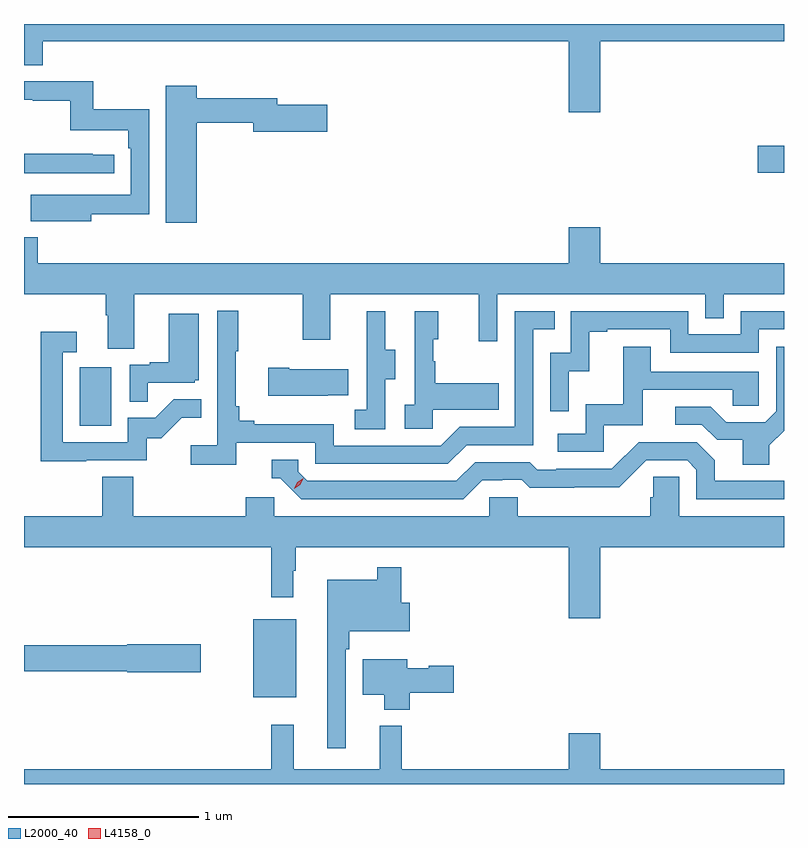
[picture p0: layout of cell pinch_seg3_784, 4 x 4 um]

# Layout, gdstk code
import gdstk
lib = gdstk.Library(unit=1e-6, precision=1e-09)
def R(c, l, rs):  # rectangles x0, y0, x1, y1
    for r in rs: c.add(gdstk.rectangle(r[:2], r[2:], *l))
def P(c, l, *ps):  # polygons
    for p in ps: c.add(gdstk.Polygon(p, *l))
L2000_40 = (2000, 40)
L4158_0 = (4158, 0)

pinch_seg3_784 = lib.new_cell('pinch_seg3_784')
R(pinch_seg3_784, L2000_40, [(822.686,726.767,822.913,727.177), (821.774,728.196,821.938,728.503), (825.342,729.526,825.48,729.668)])
P(pinch_seg3_784, L2000_40, [(824.512,730.22),(825.48,730.22),(825.48,730.31),(821.48,730.31),(821.48,730.093),(821.579,730.093),(821.579,730.22),(824.348,730.22),(824.348,729.846),(824.512,729.846)],
  [(821.833,729.31),(822.138,729.31),(822.138,729.862),(821.845,729.862),(821.845,730.008),(821.48,730.008),(821.48,729.912),(821.527,729.912),(821.527,729.907),(821.724,729.907),(821.724,729.752),(822.029,729.752),(822.029,729.656),(822.042,729.656),(822.042,729.411),(821.729,729.411),(821.729,729.412),(821.515,729.412),(821.515,729.272),(821.833,729.272)],
  [(822.388,729.79),(822.686,729.79),(822.686,729.743),(823.075,729.743),(823.075,729.885),(822.814,729.885),(822.814,729.919),(822.388,729.919),(822.388,729.985),(822.227,729.985),(822.227,729.264),(822.388,729.264)],
  [(821.956,729.621),(821.843,729.621),(821.843,729.626),(821.48,729.626),(821.48,729.525),(821.956,729.525)],
  [(822.061,728.888),(822.946,728.888),(822.946,728.649),(823.093,728.649),(823.093,728.888),(823.874,728.888),(823.874,728.64),(823.971,728.64),(823.971,728.888),(825.066,728.888),(825.066,728.761),(825.162,728.761),(825.162,728.888),(825.48,728.888),(825.48,729.052),(824.512,729.052),(824.512,729.241),(824.348,729.241),(824.348,729.052),(821.552,729.052),(821.552,729.187),(821.48,729.187),(821.48,728.888),(821.909,728.888),(821.909,728.776),(821.921,728.776),(821.921,728.602),(822.061,728.602)],
  [(822.596,728.106),(823.014,728.106),(823.014,727.995),(823.711,727.995),(823.81,728.094),(824.16,728.094),(824.16,728.703),(824.273,728.703),(824.273,728.799),(824.064,728.799),(824.064,728.19),(823.773,728.19),(823.674,728.091),(823.11,728.091),(823.11,728.203),(822.691,728.203),(822.691,728.222),(822.614,728.222),(822.614,728.299),(822.595,728.299),(822.595,728.587),(822.607,728.587),(822.607,728.8),(822.498,728.8),(822.498,728.092),(822.357,728.092),(822.357,727.99),(822.596,727.99)],
  [(824.346,728.483),(824.456,728.483),(824.456,728.691),(824.551,728.691),(824.551,728.703),(824.88,728.703),(824.88,728.58),(825.348,728.58),(825.348,728.703),(825.48,728.703),(825.48,728.799),(825.252,728.799),(825.252,728.676),(824.976,728.676),(824.976,728.799),(824.358,728.799),(824.358,728.58),(824.25,728.58),(824.25,728.271),(824.346,728.271)],
  [(823.632,728.279),(823.979,728.279),(823.979,728.419),(823.645,728.419),(823.645,728.534),(823.635,728.534),(823.635,728.652),(823.66,728.652),(823.66,728.797),(823.536,728.797),(823.536,728.306),(823.485,728.306),(823.485,728.181),(823.632,728.181)],
  [(823.38,728.44),(823.435,728.44),(823.435,728.595),(823.381,728.595),(823.381,728.797),(823.283,728.797),(823.283,728.583),(823.284,728.583),(823.284,728.279),(823.221,728.279),(823.221,728.176),(823.38,728.176)],
  [(822.131,728.421),(822.378,728.421),(822.378,728.436),(822.4,728.436),(822.4,728.785),(822.242,728.785),(822.242,728.53),(822.143,728.53),(822.143,728.517),(822.036,728.517),(822.036,728.323),(822.131,728.323)],
  [(821.807,728.013),(822.126,728.013),(822.126,728.13),(822.202,728.13),(822.309,728.237),(822.413,728.237),(822.413,728.336),(822.269,728.336),(822.171,728.238),(822.027,728.238),(822.027,728.109),(821.685,728.109),(821.685,728.583),(821.758,728.583),(821.758,728.689),(821.569,728.689),(821.569,728.008),(821.807,728.008)],
  [(825.403,728.092),(825.48,728.169),(825.48,728.611),(825.438,728.611),(825.438,728.271),(825.381,728.214),(825.175,728.214),(825.094,728.295),(824.907,728.295),(824.907,728.202),(825.048,728.202),(825.128,728.122),(825.263,728.122),(825.263,727.99),(825.403,727.99)],
  [(824.532,728.199),(824.737,728.199),(824.737,728.385),(825.211,728.385),(825.211,728.301),(825.348,728.301),(825.348,728.481),(824.779,728.481),(824.779,728.611),(824.635,728.611),(824.635,728.308),(824.436,728.308),(824.436,728.154),(824.289,728.154),(824.289,728.058),(824.532,728.058)],
  [(823.079,728.357),(823.187,728.357),(823.187,728.494),(822.877,728.494),(822.877,728.502),(822.765,728.502),(822.765,728.354),(823.079,728.354)],
  [(823.891,727.908),(823.998,727.908),(823.998,727.911),(824.101,727.911),(824.143,727.869),(824.376,727.869),(824.376,727.871),(824.612,727.871),(824.754,728.013),(824.97,728.013),(825.018,727.965),(825.018,727.809),(825.48,727.809),(825.48,727.905),(825.115,727.905),(825.115,728.015),(825.021,728.109),(824.715,728.109),(824.574,727.968),(824.281,727.968),(824.281,727.965),(824.182,727.965),(824.143,728.004),(823.854,728.004),(823.755,727.905),(822.972,727.905),(822.924,727.953),(822.924,728.016),(822.785,728.016),(822.785,727.92),(822.828,727.92),(822.939,727.809),(823.792,727.809)],
  [(824.512,727.556),(825.48,727.556),(825.48,727.72),(824.928,727.72),(824.928,727.928),(824.791,727.928),(824.791,727.818),(824.777,727.818),(824.777,727.72),(824.079,727.72),(824.079,727.818),(823.929,727.818),(823.929,727.72),(822.798,727.72),(822.798,727.818),(822.647,727.818),(822.647,727.72),(822.056,727.72),(822.056,727.928),(821.891,727.928),(821.891,727.72),(821.48,727.72),(821.48,727.556),(822.781,727.556),(822.781,727.293),(822.898,727.293),(822.898,727.433),(822.91,727.433),(822.91,727.556),(824.348,727.556),(824.348,727.182),(824.512,727.182)],
  [(823.173,727.019),(823.193,727.019),(823.193,727.115),(823.51,727.115),(823.51,727.263),(823.466,727.263),(823.466,727.45),(823.338,727.45),(823.338,727.384),(823.076,727.384),(823.076,726.498),(823.173,726.498)],
  [(822.409,727.046),(822.024,727.046),(822.024,727.04),(821.48,727.04),(821.48,726.904),(822.024,726.904),(822.024,726.899),(822.409,726.899)],
  [(823.511,726.79),(823.741,726.79),(823.741,726.932),(823.611,726.932),(823.611,726.919),(823.498,726.919),(823.498,726.967),(823.262,726.967),(823.262,726.779),(823.376,726.779),(823.376,726.701),(823.511,726.701)],
  [(825.48,726.388),(824.512,726.388),(824.512,726.577),(824.348,726.577),(824.348,726.388),(823.469,726.388),(823.469,726.616),(823.352,726.616),(823.352,726.388),(822.899,726.388),(822.899,726.622),(822.781,726.622),(822.781,726.388),(821.48,726.388),(821.48,726.31),(825.48,726.31)])
P(pinch_seg3_784, L4158_0, [(822.902,727.865),(822.902,727.866),(822.918,727.898),(822.949,727.918),(822.949,727.918),(822.949,727.917),(822.933,727.885),(822.902,727.865)])

lib.write_gds('pinch_seg3_784.gds')
